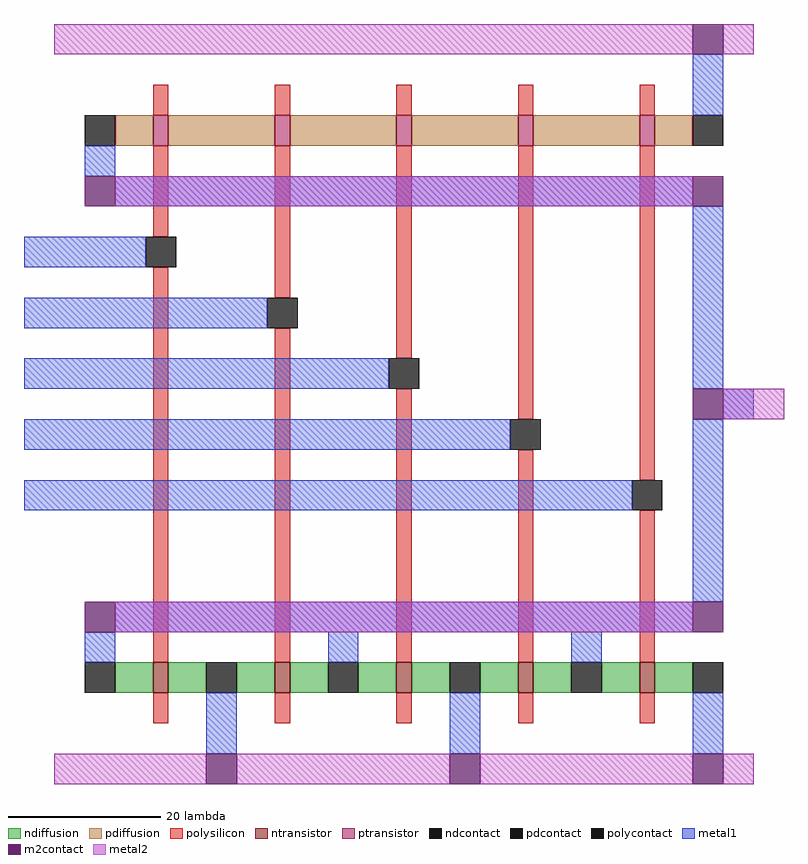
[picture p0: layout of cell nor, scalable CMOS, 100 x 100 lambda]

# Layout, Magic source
magic
tech scmos
<< polysilicon >>
rect -31 28 -29 32
rect -15 28 -13 32
rect 1 28 3 32
rect 17 28 19 32
rect 33 28 35 32
rect -31 12 -29 24
rect -31 -44 -29 8
rect -15 4 -13 24
rect -15 -44 -13 0
rect 1 -4 3 24
rect 1 -44 3 -8
rect 17 -12 19 24
rect 17 -44 19 -16
rect 33 -20 35 24
rect 33 -44 35 -24
rect -31 -52 -29 -48
rect -15 -52 -13 -48
rect 1 -52 3 -48
rect 17 -52 19 -48
rect 33 -52 35 -48
<< ndiffusion >>
rect -36 -48 -31 -44
rect -29 -48 -24 -44
rect -20 -48 -15 -44
rect -13 -48 -8 -44
rect -4 -48 1 -44
rect 3 -48 8 -44
rect 12 -48 17 -44
rect 19 -48 24 -44
rect 28 -48 33 -44
rect 35 -48 40 -44
<< pdiffusion >>
rect -36 24 -31 28
rect -29 24 -15 28
rect -13 24 1 28
rect 3 24 17 28
rect 19 24 33 28
rect 35 24 40 28
<< metal1 >>
rect 40 28 44 36
rect -40 20 -36 24
rect -36 16 40 20
rect -48 8 -32 12
rect -48 0 -16 4
rect -48 -8 0 -4
rect 40 -8 44 16
rect 44 -12 48 -8
rect -48 -16 16 -12
rect -48 -24 32 -20
rect 40 -36 44 -12
rect -36 -40 40 -36
rect -40 -44 -36 -40
rect -8 -44 -4 -40
rect 24 -44 28 -40
rect -24 -56 -20 -48
rect 8 -56 12 -48
rect 40 -56 44 -48
<< metal2 >>
rect -44 36 40 40
rect 44 36 48 40
rect -36 16 40 20
rect 44 -12 52 -8
rect -36 -40 40 -36
rect -44 -60 -24 -56
rect -20 -60 8 -56
rect 12 -60 40 -56
rect 44 -60 48 -56
<< ntransistor >>
rect -31 -48 -29 -44
rect -15 -48 -13 -44
rect 1 -48 3 -44
rect 17 -48 19 -44
rect 33 -48 35 -44
<< ptransistor >>
rect -31 24 -29 28
rect -15 24 -13 28
rect 1 24 3 28
rect 17 24 19 28
rect 33 24 35 28
<< polycontact >>
rect -32 8 -28 12
rect -16 0 -12 4
rect 0 -8 4 -4
rect 16 -16 20 -12
rect 32 -24 36 -20
<< ndcontact >>
rect -40 -48 -36 -44
rect -24 -48 -20 -44
rect -8 -48 -4 -44
rect 8 -48 12 -44
rect 24 -48 28 -44
rect 40 -48 44 -44
<< pdcontact >>
rect -40 24 -36 28
rect 40 24 44 28
<< m2contact >>
rect 40 36 44 40
rect -40 16 -36 20
rect 40 16 44 20
rect 40 -12 44 -8
rect -40 -40 -36 -36
rect 40 -40 44 -36
rect -24 -60 -20 -56
rect 8 -60 12 -56
rect 40 -60 44 -56
<< end >>
